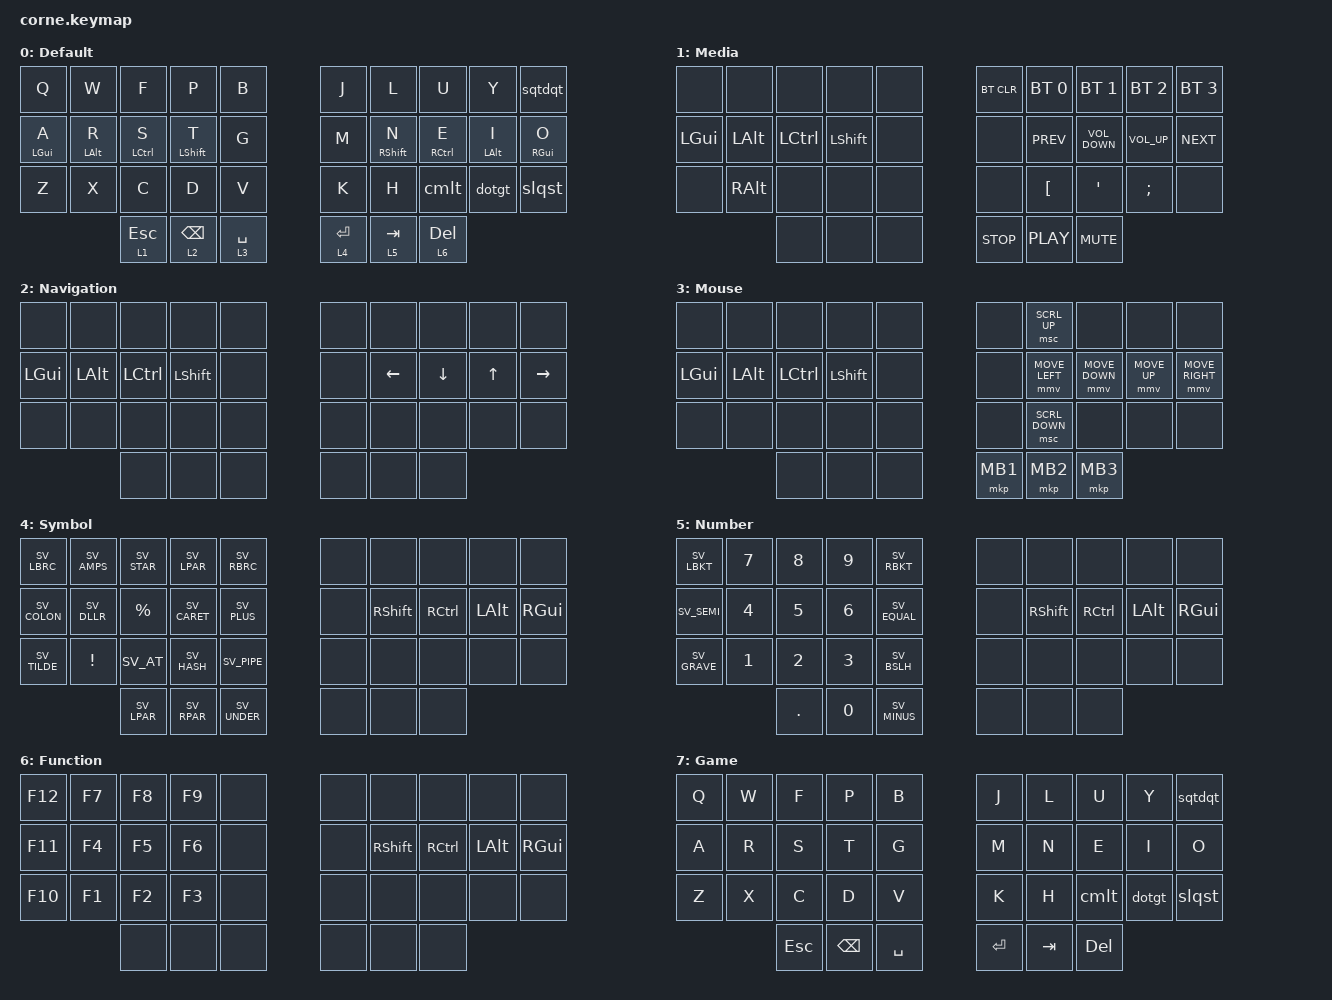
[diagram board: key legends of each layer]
/*
 * Copyright (c) 2020 The ZMK Contributors
 *
 * SPDX-License-Identifier: MIT
 */

#include "includes.h"

&caps_word {
        continue-list = <SV_UNDER BSPC>;
};

/ {
        chosen {
            zmk,matrix_transform = &five_column_transform;
        };

        behaviors {
                lmt: left_mod_tap {
                     compatible = "zmk,behavior-hold-tap";
                     #binding-cells = <2>;
                     flavor = "balanced";
                     tapping-term-ms = <280>;
                     quick-tap-ms = <175>;
                     global-quick-tap;
                     bindings = <&kp>, <&kp>;
                     hold-trigger-key-positions = <
                        5 6 7 8 9
                        15 16 17 18 19
                        25 26 27 28 29
                        33 34 35>;
                     hold-trigger-on-release;
                };
                rmt: right_mod_tap {
                     compatible = "zmk,behavior-hold-tap";
                     #binding-cells = <2>;
                     flavor = "balanced";
                     tapping-term-ms = <280>;
                     quick-tap-ms = <175>;
                     global-quick-tap;
                     bindings = <&kp>, <&kp>;
                     hold-trigger-key-positions = <
                        0 1 2 3 4
                        10 11 12 13 14
                        20 21 22 23 24
                        30 31 32>;
                     hold-trigger-on-release;
                };
                cmlt: comma_less_than {
                     compatible = "zmk,behavior-mod-morph";
                     #binding-cells = <0>;
                     bindings = <&kp COMMA>, <&kp SV_LT>;
                     mods = <(MOD_LSFT|MOD_RSFT)>;
                };
                dotgt: dot_greater_than {
                     compatible = "zmk,behavior-mod-morph";
                     #binding-cells = <0>;
                     bindings = <&kp DOT>, <&kp SV_GT>;
                     mods = <(MOD_LSFT|MOD_RSFT)>;
                };
                slqst: slash_question {
                     compatible = "zmk,behavior-mod-morph";
                     #binding-cells = <0>;
                     bindings = <&kp SV_FSLH>, <&kp SV_QMARK>;
                     mods = <(MOD_LSFT|MOD_RSFT)>;
                };
                sqtdqt: single_quote_double_quote {
                     compatible = "zmk,behavior-mod-morph";
                     #binding-cells = <0>;
                     bindings = <&kp SV_SQT>, <&kp SV_DQT>;
                     mods = <(MOD_LSFT|MOD_RSFT)>;
                };
        };
        combos {
                compatible = "zmk,combos";
                combo_caps_word {
                     timeout-ms = <50>;
                     key-positions = <20 21>;
                     bindings = <&caps_word>;
                };
                combo_game_layer {
                     timeout-ms = <50>;
                     key-positions = <28 29>;
                     bindings = <&tog 7>;
                };
        };
        keymap {
                compatible = "zmk,keymap";

                default_layer {
                        display-name = "Default";
                        bindings = <
   &kp Q       &kp W       &kp F        &kp P         &kp B    &kp J &kp L         &kp U        &kp Y       &sqtdqt
   &lmt LGUI A &lmt LALT R &lmt LCTRL S &lmt LSHIFT T &kp G    &kp M &rmt RSHIFT N &rmt RCTRL E &rmt LALT I &rmt RGUI O
   &kp Z       &kp X       &kp C        &kp D         &kp V    &kp K &kp H         &cmlt        &dotgt      &slqst
                                 &lt 1 ESC &lt 2 BSPC &lt 3 SPACE    &lt 4 RET &lt 5 TAB  &lt 6 DEL
                        >;
                };
                media_layer {
                        display-name = "Media";
                        bindings = <
   &none    &none    &none     &none      &none  &bt BT_CLR   &bt BT_SEL 0 &bt BT_SEL 1      &bt BT_SEL 2    &bt BT_SEL 3
   &kp LGUI &kp LALT &kp LCTRL &kp LSHIFT &none  &none        &kp C_PREV   &kp C_VOLUME_DOWN &kp C_VOLUME_UP &kp C_NEXT
   &none    &kp RALT &none     &none      &none  &none        &kp LBKT     &kp SQT           &kp SEMI        &none
                                    &none &none &none  &kp C_STOP &kp C_PLAY &kp C_MUTE
                        >;
                };
                nav_layer {
                        display-name = "Navigation";
                        bindings = <
   &none &none &none &none &none  &none &none &none &none &none
   &kp LGUI &kp LALT &kp LCTRL &kp LSHIFT &none  &none &kp LEFT_ARROW &kp DOWN_ARROW &kp UP_ARROW &kp RIGHT_ARROW
   &none &none &none &none &none  &none &none &none &none &none
                     &none &none &none  &none &none &none
                        >;
                };
                mouse_layer {
                        display-name = "Mouse";
                        bindings = <
   &none    &none    &none     &none      &none  &none &msc SCRL_UP &none &none &none
   &kp LGUI &kp LALT &kp LCTRL &kp LSHIFT &none  &none &mmv MOVE_LEFT &mmv MOVE_DOWN &mmv MOVE_UP &mmv MOVE_RIGHT
   &none &none &none &none &none                 &none &msc SCRL_DOWN &none &none &none
                     &none &none &none                 &mkp MB1 &mkp MB2 &mkp MB3
                        >;
                };
                sym_layer {
                        display-name = "Symbol";
                        bindings = <
   &kp SV_LBRC  &kp SV_AMPS &kp SV_STAR &kp SV_LPAR  &kp SV_RBRC  &none &none &none &none &none
   &kp SV_COLON &kp SV_DLLR &kp PRCNT   &kp SV_CARET &kp SV_PLUS  &none &kp RSHIFT &kp RCTRL &kp LALT &kp RGUI
   &kp SV_TILDE &kp EXCL    &kp SV_AT   &kp SV_HASH  &kp SV_PIPE  &none &none &none &none &none
                                  &kp SV_LPAR &kp SV_RPAR &kp SV_UNDER  &none &none &none
                        >;
                };
                num_layer {
                        display-name = "Number";
                        bindings = <
   &kp SV_LBKT  &kp N7 &kp N8 &kp N9 &kp SV_RBKT   &none &none &none &none &none
   &kp SV_SEMI  &kp N4 &kp N5 &kp N6 &kp SV_EQUAL  &none &kp RSHIFT &kp RCTRL &kp LALT &kp RGUI
   &kp SV_GRAVE &kp N1 &kp N2 &kp N3 &kp SV_BSLH   &none &none &none &none &none
                            &kp DOT &kp N0 &kp SV_MINUS  &none &none &none
                        >;
                };
                fun_layer {
                        display-name = "Function";
                        bindings = <
   &kp F12 &kp F7 &kp F8 &kp F9 &none  &none &none &none &none &none
   &kp F11 &kp F4 &kp F5 &kp F6 &none  &none &kp RSHIFT &kp RCTRL &kp LALT &kp RGUI
   &kp F10 &kp F1 &kp F2 &kp F3 &none  &none &none &none &none &none
                     &none &none &none  &none &none &none
                        >;
                };
                game_layer {
                        display-name = "Game";
                        bindings = <
   &kp Q &kp W &kp F &kp P &kp B    &kp J &kp L &kp U &kp Y  &sqtdqt
   &kp A &kp R &kp S &kp T &kp G    &kp M &kp N &kp E &kp I  &kp O
   &kp Z &kp X &kp C &kp D &kp V    &kp K &kp H &cmlt &dotgt &slqst
      &kp ESC &kp BSPC &kp SPACE    &kp RET &kp TAB  &kp DEL
                        >;
                };
        };
};
